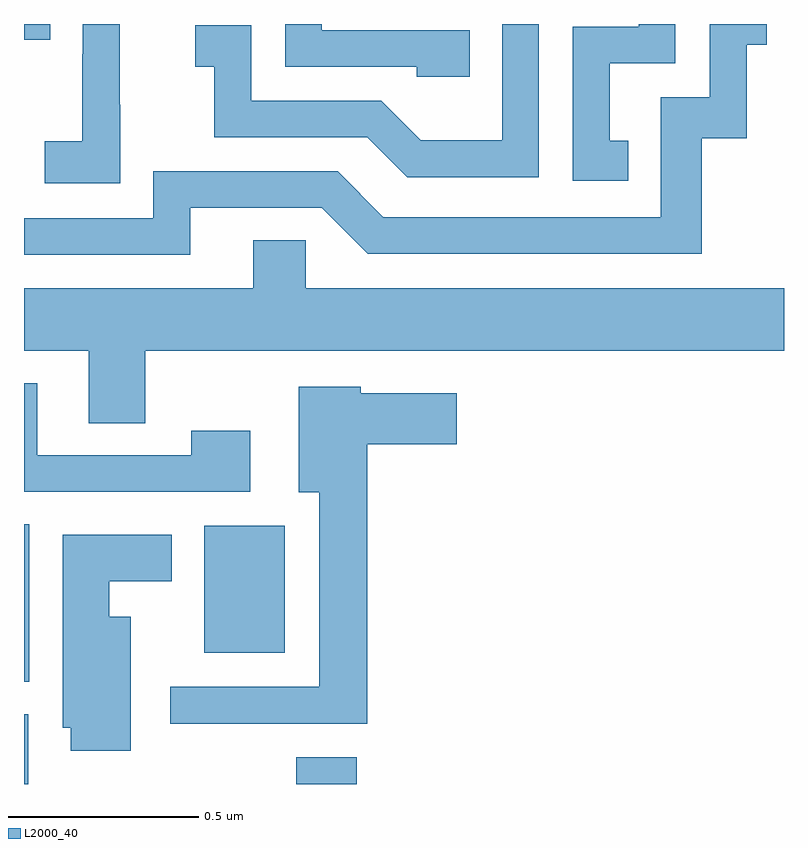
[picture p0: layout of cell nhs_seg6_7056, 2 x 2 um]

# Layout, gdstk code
import gdstk
lib = gdstk.Library(unit=1e-6, precision=1e-09)
def R(c, l, rs):  # rectangles x0, y0, x1, y1
    for r in rs: c.add(gdstk.rectangle(r[:2], r[2:], *l))
def P(c, l, *ps):  # polygons
    for p in ps: c.add(gdstk.Polygon(p, *l))
L2000_40 = (2000, 40)

nhs_seg6_7056 = lib.new_cell('nhs_seg6_7056')
R(nhs_seg6_7056, L2000_40, [(203,975.5,203.011,975.684), (203.716,975.5,203.876,975.571), (203,975.769,203.014,976.184), (203.474,975.845,203.686,976.18), (203,977.458,203.069,977.5)])
P(nhs_seg6_7056, L2000_40, [(204.354,977.5),(204.258,977.5),(204.258,977.194),(204.044,977.194),(203.94,977.298),(203.598,977.298),(203.598,977.497),(203.451,977.497),(203.451,977.387),(203.5,977.387),(203.5,977.202),(203.903,977.202),(204.008,977.097),(204.354,977.097)],
  [(203.437,977.016),(203.784,977.016),(203.904,976.896),(204.784,976.896),(204.784,977.199),(204.902,977.199),(204.902,977.445),(204.955,977.445),(204.955,977.5),(204.804,977.5),(204.804,977.307),(204.675,977.307),(204.675,976.992),(203.946,976.992),(203.826,977.112),(203.34,977.112),(203.34,976.989),(203,976.989),(203,976.893),(203.437,976.893)],
  [(203.253,977.287),(203.252,977.287),(203.252,977.5),(203.154,977.5),(203.154,977.42),(203.153,977.42),(203.153,977.191),(203.055,977.191),(203.055,977.081),(203.253,977.081)],
  [(204.173,977.484),(203.784,977.484),(203.784,977.5),(203.688,977.5),(203.688,977.388),(204.033,977.388),(204.033,977.361),(204.173,977.361)],
  [(204.59,977.193),(204.541,977.193),(204.541,977.397),(204.714,977.397),(204.714,977.5),(204.618,977.5),(204.618,977.493),(204.444,977.493),(204.444,977.088),(204.59,977.088)],
  [(203.319,976.64),(205,976.64),(205,976.804),(203.742,976.804),(203.742,976.931),(203.603,976.931),(203.603,976.804),(203,976.804),(203,976.64),(203.171,976.64),(203.171,976.45),(203.319,976.45)],
  [(203.596,976.429),(203.44,976.429),(203.44,976.365),(203.035,976.365),(203.035,976.555),(203,976.555),(203,976.269),(203.596,976.269)],
  [(203.903,976.394),(204.139,976.394),(204.139,976.528),(203.886,976.528),(203.886,976.546),(203.723,976.546),(203.723,976.268),(203.777,976.268),(203.777,975.756),(203.385,975.756),(203.385,975.659),(203.903,975.659)],
  [(203.281,975.94),(203.224,975.94),(203.224,976.034),(203.389,976.034),(203.389,976.156),(203.102,976.156),(203.102,975.648),(203.123,975.648),(203.123,975.588),(203.281,975.588)])

lib.write_gds('nhs_seg6_7056.gds')
